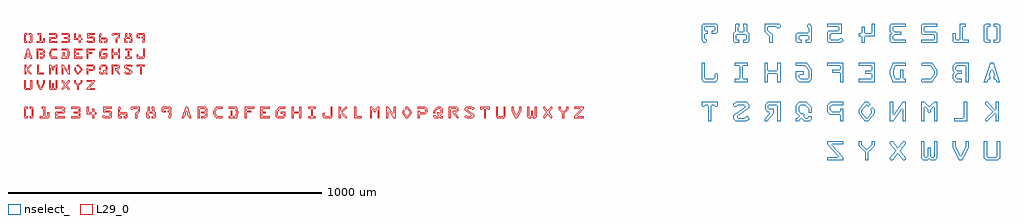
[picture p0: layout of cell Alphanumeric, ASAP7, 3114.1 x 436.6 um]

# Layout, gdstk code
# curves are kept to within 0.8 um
import gdstk
lib = gdstk.Library(unit=1e-6, precision=1e-10)
def P(c, l, *ps):  # polygons
    for p in ps: c.add(gdstk.Polygon(p, *l))
nselect_ = (12, 0)
L29_0 = (29, 0)

c_z = lib.new_cell('z')
P(c_z, L29_0, [(0,0),(30,0),(30,6),(9,6),(9,7.09),(30,30),(30,36),(0,36),(0,30),(21,30),(21,28.909),(0,6)])

c_y = lib.new_cell('y')
P(c_y, L29_0, [(12,0),(18,0),(18,15),(30,27),(30,36),(24,36),(24,29),(16,21),(14,21),(6,29),(6,36),(0,36),(0,27),(12,15)])

c_x = lib.new_cell('x')
P(c_x, L29_0, [(2,0),(5,0),(15,12.4),(25,0),(28,0),(30,2),(30,5),(19.516,18),(30,31),(30,34),(28,36),(25,36),(15,23.6),(5,36),(2,36),(0,34),(0,31),(10.483,18),(0,5),(0,2)])

c_w = lib.new_cell('w')
P(c_w, L29_0, [(4,0),(12,0),(15,3),(18,0),(26,0),(30,4),(30,36),(24,36),(24,8),(22,6),(20,6),(18,8),(18,24),(12,24),(12,8),(10,6),(8,6),(6,8),(6,36),(0,36),(0,4)])

c_v = lib.new_cell('v')
P(c_v, L29_0, [(12,0),(18,0),(30,24),(30,36),(24,36),(24,26),(15,8),(6,26),(6,36),(0,36),(0,24)])

c_u = lib.new_cell('u')
P(c_u, L29_0, [(4,0),(26,0),(30,4),(30,36),(24,36),(24,7),(23,6),(7,6),(6,7),(6,36),(0,36),(0,4)])

c_t = lib.new_cell('t')
P(c_t, L29_0, [(12,0),(18,0),(18,30),(24,30),(26,27),(28,27),(30,29),(30,36),(0,36),(0,29),(2,27),(4,27),(6,30),(12,30)])

c_s = lib.new_cell('s')
P(c_s, L29_0, [(6,0),(25,0),(30,5),(30,11),(9,25.903),(9,29),(10,30),(21,30),(24,27),(27,27),(30,30),(30,33),(24,36),(5,36),(0,31),(0,25),(21,9.906),(21,7),(20,6),(9,6),(6,9),(3,9),(0,6),(0,3)])

c_r = lib.new_cell('r')
P(c_r, L29_0, [(0,0),(6,0),(6,30),(22,30),(23,29),(23,25),(22,24),(12,24),(12,16.8),(26,0),(29,0),(30,1),(30,5),(20.6,16.75),(20.6,18),(24,18),(29,23),(29,31),(24,36),(0,36)])

c_q = lib.new_cell('q')
P(c_q, L29_0, [(4,0),(15,0),(19.083,4.083),(22,0),(30,0),(30,6),(26,6),(24,9),(30,15),(30,30),(24,36),(13,36),(1,24),(0,15),(6,15),(6.4,21.4),(15,30),(21,30),(24,27),(24,18),(20.4,14.4),(18,18),(15,19),(13,18),(12,14),(15.333,9.333),(12,6),(9,6),(6,9),(1,9),(0,8),(0,4)])

c_p = lib.new_cell('p')
P(c_p, L29_0, [(0,0),(6,0),(6,12),(24,12),(30,18),(30,30),(24,36),(0,36),(0,30),(21,30),(24,27),(24,21),(21,18),(6,18),(6,24),(0,24)])

c_o = lib.new_cell('o')
P(c_o, L29_0, [(12,0),(18,0),(30,15),(30,21),(18,36),(12,36),(8,31),(11.778,27.223),(14,30),(16,30),(24,20),(24,16),(16,6),(14,6),(6,16),(6,20),(7.778,22.223),(4,26),(0,21),(0,15)])

c_n = lib.new_cell('n')
P(c_n, L29_0, [(0,0),(6,0),(6,25),(24,0),(30,0),(30,36),(24,36),(24,11),(6,36),(0,36)])

c_m = lib.new_cell('m')
P(c_m, L29_0, [(0,0),(6,0),(6,28),(12,22),(12,20),(14,18),(16,18),(18,20),(18,22),(24,28),(24,0),(30,0),(30,36),(24,36),(15,27),(6,36),(0,36)])

c_l = lib.new_cell('l')
P(c_l, L29_0, [(0,0),(24,0),(24,6),(6,6),(6,36),(0,36)])

c_k = lib.new_cell('k')
P(c_k, L29_0, [(0,0),(6,0),(6,15),(7,15),(22,0),(25,0),(26,1),(26,4),(12,18),(26,32),(26,35),(25,36),(22,36),(7,21),(6,21),(6,36),(0,36)])

c_j = lib.new_cell('j')
P(c_j, L29_0, [(4,0),(26,0),(30,4),(30,36),(24,36),(24,8),(22,6),(8,6),(6,8),(6,15),(4,17),(2,17),(0,15),(0,4)])

c_i = lib.new_cell('i')
P(c_i, L29_0, [(3,0),(27,0),(27,6),(18,6),(18,30),(27,30),(27,36),(3,36),(3,30),(12,30),(12,6),(3,6)])

c_h = lib.new_cell('h')
P(c_h, L29_0, [(0,0),(6,0),(6,15),(24,15),(24,0),(30,0),(30,36),(24,36),(24,21),(6,21),(6,36),(0,36)])

c_g = lib.new_cell('g')
P(c_g, L29_0, [(5,0),(24,0),(30,6),(30,20),(15,20),(15,14),(24,14),(24,9),(21,6),(8,6),(6,8),(6,21),(13,30),(30,30),(30,36),(10,36),(0,23),(0,5)])

c_e = lib.new_cell('e')
P(c_e, L29_0, [(0,0),(30,0),(30,6),(6,6),(6,15),(18,15),(18,21),(6,21),(6,30),(30,30),(30,36),(0,36)])

c_f = lib.new_cell('f')
P(c_f, L29_0, [(0,0),(6,0),(6,18),(21,18),(21,24),(6,24),(6,30),(30,30),(30,36),(0,36)])

c_d = lib.new_cell('d')
P(c_d, L29_0, [(0,0),(25,0),(30,15),(30,21),(25,36),(0,36),(0,30),(20,30),(23,21),(23,15),(20,6),(11,6),(11,24),(5,24),(5,6),(0,6)])

c_c = lib.new_cell('c')
P(c_c, L29_0, [(9,0),(28,0),(30,2),(30,4),(28,6),(12,6),(6,16),(6,20),(12,30),(28,30),(30,32),(30,34),(28,36),(9,36),(0,22),(0,14)])

c_b = lib.new_cell('b')
P(c_b, L29_0, [(0,0),(6,0),(6,30),(21,30),(24,27),(24,24),(21,21),(12,21),(12,15),(21,15),(24,12),(24,9),(21,6),(12,6),(12,0),(24,0),(30,6),(30,15),(27,18),(30,21),(30,30),(24,36),(0,36)])

c_a = lib.new_cell('a')
P(c_a, L29_0, [(0,0),(6.5,0),(9.5,9),(12.5,9),(12.5,15),(11.5,15),(14.166,23),(15.833,23),(18.5,15),(17.5,15),(17.5,9),(20.5,9),(23.5,0),(30,0),(18,36),(12,36)])

c_9 = lib.new_cell('9')
P(c_9, L29_0, [(24,0),(27,0),(30,6),(30,33),(27,36),(3,36),(0,33),(0,21),(3,18),(12,18),(12,24),(6,24),(6,30),(24,30),(24,24),(18,24),(18,18),(24,18),(24,9),(21,6),(21,3)])

c_8 = lib.new_cell('8')
P(c_8, L29_0, [(3,0),(12,0),(12,6),(6,6),(6,15),(24,15),(24,6),(18,6),(18,0),(27,0),(30,3),(30,18),(27,21),(25,21),(25,34.5),(23.5,36),(18,36),(18,30),(19,30),(19,21),(11,21),(11,30),(12,30),(12,36),(6.5,36),(5,34.5),(5,21),(3,21),(0,18),(0,3)])

c_7 = lib.new_cell('7')
P(c_7, L29_0, [(15,0),(21,0),(21,12),(30,21),(30,36),(3,36),(0,33),(0,30),(3,27),(6,27),(9,30),(24,30),(24,24),(15,15)])

c_6 = lib.new_cell('6')
P(c_6, L29_0, [(3,0),(12,0),(12,6),(6,6),(6,12),(24,12),(24,6),(18,6),(18,0),(27,0),(30,3),(30,15),(27,18),(6,18),(6,27),(9,30),(9,33),(6,36),(3,36),(0,30),(0,3)])

c_5 = lib.new_cell('5')
P(c_5, L29_0, [(6,0),(27,0),(30,3),(30,21),(27,24),(9,24),(9,30),(30,30),(30,36),(3,36),(3,18),(24,18),(24,6),(9,6),(6,9),(3,9),(0,6),(0,3)])

c_4 = lib.new_cell('4')
P(c_4, L29_0, [(18,0),(24,0),(24,12),(30,12),(30,18),(24,18),(24,30),(18,30),(18,18),(6,18),(6,36),(0,36),(0,12),(18,12)])

c_3 = lib.new_cell('3')
P(c_3, L29_0, [(0,0),(27,0),(30,3),(30,15),(27,18),(30,21),(30,33),(27,36),(0,36),(0,30),(24,30),(24,24),(21,21),(9,21),(9,15),(21,15),(24,12),(24,6),(0,6)])

c_2 = lib.new_cell('2')
P(c_2, L29_0, [(0,0),(30,0),(30,6),(6,6),(6,15),(27,15),(30,18),(30,33),(27,36),(0,36),(0,30),(24,30),(24,21),(3,21),(0,18)])

c_1 = lib.new_cell('1')
P(c_1, L29_0, [(0,0),(27,0),(30,3),(30,18),(24,18),(24,6),(18,6),(18,36),(6,36),(6,30),(12,30),(12,6),(0,6)])

c_0 = lib.new_cell('0')
P(c_0, L29_0, [(3,0),(12,0),(12,6),(6,6),(6,30),(12,30),(12,36),(3,36),(0,33),(0,3)],
  [(18,0),(27,0),(30,3),(30,33),(27,36),(18,36),(18,30),(24,30),(24,6),(18,6)])

c_0_ = lib.new_cell('0-')
P(c_0_, L29_0, [(2.534,0),(9.73,0),(9.73,5),(5,5),(5,25.8),(9.73,25.8),(9.73,30.8),(2.534,30.8),(0,28.265),(0,2.535)],
  [(15.91,0),(23.105,0),(25.64,2.534),(25.64,28.266),(23.105,30.8),(15.91,30.8),(15.91,25.8),(20.64,25.8),(20.64,5),(15.91,5)])

c_u_ = lib.new_cell('u-')
P(c_u_, L29_0, [(3.394,0),(22.245,0),(25.64,3.394),(25.64,30.8),(20.64,30.8),(20.64,5.905),(19.734,5),(5.905,5),(5,5.906),(5,30.8),(0,30.8),(0,3.395)])

c_a_ = lib.new_cell('a-')
P(c_a_, L29_0, [(0.037,0),(5.505,0),(7.068,4.73),(9.73,4.73),(9.73,9.73),(8.719,9.73),(11.614,18.49),(14.025,18.49),(16.92,9.73),(15.91,9.73),(15.91,4.73),(18.572,4.73),(20.135,0),(25.602,0),(15.395,30.8),(10.246,30.8)])

c_k_ = lib.new_cell('k-')
P(c_k_, L29_0, [(1.72,0),(6.72,0),(6.72,12.9),(7.695,12.9),(20.594,0),(23.105,0),(23.92,0.814),(23.92,3.325),(11.845,15.4),(23.92,27.474),(23.92,29.985),(23.106,30.8),(20.595,30.8),(7.694,17.9),(6.72,17.9),(6.72,30.8),(1.72,30.8)])

c_1_ = lib.new_cell('1-')
P(c_1_, L29_0, [(0,0),(23.105,0),(25.64,2.534),(25.64,15.32),(20.64,15.32),(20.64,5),(14.46,5),(14.46,30.8),(4.3,30.8),(4.3,25.8),(9.46,25.8),(9.46,5),(0,5)])

c_b_ = lib.new_cell('b-')
P(c_b_, L29_0, [(0,0),(5,0),(5,25.8),(18.015,25.8),(20.64,23.174),(20.64,20.525),(18.014,17.9),(11.18,17.9),(11.18,12.9),(18.015,12.9),(20.64,10.274),(20.64,7.625),(18.014,5),(11.18,5),(11.18,0),(20.525,0),(25.64,5.114),(25.64,12.785),(23.025,15.4),(25.64,18.014),(25.64,25.685),(20.526,30.8),(0,30.8)])

c_v_ = lib.new_cell('v-')
P(c_v_, L29_0, [(10.29,0),(15.35,0),(25.64,20.578),(25.64,30.8),(20.64,30.8),(20.64,22.262),(12.82,6.622),(5,22.262),(5,30.8),(0,30.8),(0,20.578)])

c_l_ = lib.new_cell('l-')
P(c_l_, L29_0, [(2.58,0),(23.06,0),(23.06,5),(7.58,5),(7.58,30.8),(2.58,30.8)])

c_2_ = lib.new_cell('2-')
P(c_2_, L29_0, [(0,0),(25.64,0),(25.64,5),(5,5),(5,12.9),(23.105,12.9),(25.64,15.434),(25.64,28.265),(23.106,30.8),(0,30.8),(0,25.8),(20.64,25.8),(20.64,17.9),(2.535,17.9),(0,15.366)])

c_c_ = lib.new_cell('c-')
P(c_c_, L29_0, [(7.704,0),(23.965,0),(25.64,1.674),(25.64,3.325),(23.966,5),(10.195,5),(5,13.657),(5,17.143),(10.195,25.8),(23.965,25.8),(25.64,27.474),(25.64,29.125),(23.966,30.8),(7.704,30.8),(0,18.817),(0,11.983)])

c_m_ = lib.new_cell('m-')
P(c_m_, L29_0, [(0,0),(5,0),(5,23.22),(10.32,18.397),(10.32,15.005),(11.994,13.33),(13.645,13.33),(15.32,15.004),(15.32,18.396),(20.64,23.22),(20.64,0),(25.64,0),(25.64,30.8),(20.846,30.8),(13.965,23.92),(11.674,23.92),(4.795,30.8),(0,30.8)])

c_w_ = lib.new_cell('w-')
P(c_w_, L29_0, [(3.394,0),(10.205,0),(12.82,2.615),(15.434,0),(22.245,0),(25.64,3.394),(25.64,30.8),(20.64,30.8),(20.64,6.765),(18.874,5),(17.085,5),(15.32,6.766),(15.32,20.48),(10.32,20.48),(10.32,6.765),(8.554,5),(6.765,5),(5,6.766),(5,30.8),(0,30.8),(0,3.395)])

c_3_ = lib.new_cell('3-')
P(c_3_, L29_0, [(0,0),(23.105,0),(25.64,2.534),(25.64,12.785),(23.025,15.4),(25.64,18.014),(25.64,28.265),(23.106,30.8),(0,30.8),(0,25.8),(20.64,25.8),(20.64,20.525),(18.014,17.9),(7.74,17.9),(7.74,12.9),(18.015,12.9),(20.64,10.274),(20.64,5),(0,5)])

c_d_ = lib.new_cell('d-')
P(c_d_, L29_0, [(0,0),(21.362,0),(25.64,12.832),(25.64,17.968),(21.362,30.8),(0,30.8),(0,25.8),(17.178,25.8),(19.78,17.992),(19.78,12.808),(17.178,5),(9.3,5),(9.3,19.62),(4.3,19.62),(4.3,5),(0,5)])

c_n_ = lib.new_cell('n-')
P(c_n_, L29_0, [(0,0),(5,0),(5,21.667),(20.601,0),(25.64,0),(25.64,30.8),(20.64,30.8),(20.64,9.133),(5.039,30.8),(0,30.8)])

c_x_ = lib.new_cell('x-')
P(c_x_, L29_0, [(1.674,0),(4.181,0),(12.82,10.711),(21.459,0),(23.965,0),(25.64,1.674),(25.64,4.193),(16.601,15.4),(25.64,26.607),(25.64,29.125),(23.966,30.8),(21.459,30.8),(12.82,20.089),(4.181,30.8),(1.675,30.8),(0,29.126),(0,26.607),(9.039,15.4),(0,4.193),(0,1.675)])

c_4_ = lib.new_cell('4-')
P(c_4_, L29_0, [(15.48,0),(20.48,0),(20.48,10.32),(25.64,10.32),(25.64,15.32),(20.48,15.32),(20.48,25.64),(15.48,25.64),(15.48,15.32),(5,15.32),(5,30.8),(0,30.8),(0,10.32),(15.48,10.32)])

c_e_ = lib.new_cell('e-')
P(c_e_, L29_0, [(0,0),(25.64,0),(25.64,5),(5,5),(5,12.9),(15.32,12.9),(15.32,17.9),(5,17.9),(5,25.8),(25.64,25.8),(25.64,30.8),(0,30.8)])

c_o_ = lib.new_cell('o-')
P(c_o_, L29_0, [(10.267,0),(15.4,0),(25.667,12.833),(25.667,17.967),(15.4,30.8),(10.267,30.8),(6.844,26.522),(10.077,23.291),(11.978,25.667),(13.689,25.667),(20.533,17.111),(20.533,13.689),(13.689,5.133),(11.978,5.133),(5.133,13.689),(5.133,17.111),(6.654,19.013),(3.422,22.244),(0,17.967),(0,12.833)])

c_y_ = lib.new_cell('y-')
P(c_y_, L29_0, [(10.32,0),(15.32,0),(15.32,12.855),(25.64,23.174),(25.64,30.8),(20.64,30.8),(20.64,24.825),(13.714,17.9),(11.925,17.9),(5,24.826),(5,30.8),(0,30.8),(0,23.175),(10.32,12.854)])

c_5_ = lib.new_cell('5-')
P(c_5_, L29_0, [(5.098,0),(23.105,0),(25.64,2.534),(25.64,17.085),(23.106,19.62),(7.58,19.62),(7.58,25.8),(25.64,25.8),(25.64,30.8),(2.58,30.8),(2.58,14.62),(20.64,14.62),(20.64,5),(7.625,5),(5.046,7.58),(2.535,7.58),(0,5.046),(0,2.55)])

c_f_ = lib.new_cell('f-')
P(c_f_, L29_0, [(0,0),(5,0),(5,14.62),(17.9,14.62),(17.9,19.62),(5,19.62),(5,25.8),(25.64,25.8),(25.64,30.8),(0,30.8)])

c_p_ = lib.new_cell('p-')
P(c_p_, L29_0, [(0,0),(5,0),(5,10.32),(20.525,10.32),(25.64,15.434),(25.64,25.685),(20.526,30.8),(0,30.8),(0,25.8),(18.015,25.8),(20.64,23.174),(20.64,17.945),(18.014,15.32),(5,15.32),(5,19.62),(0,19.62)])

c_z_ = lib.new_cell('z-')
P(c_z_, L29_0, [(0,0),(25.64,0),(25.64,5),(7.58,5),(7.58,6.049),(25.64,25.752),(25.64,30.8),(0,30.8),(0,25.8),(18.06,25.8),(18.06,24.751),(0,5.048)])

c_6_ = lib.new_cell('6-')
P(c_6_, L29_0, [(2.534,0),(9.73,0),(9.73,5),(5,5),(5,11.18),(20.64,11.18),(20.64,5),(15.91,5),(15.91,0),(23.105,0),(25.64,2.534),(25.64,13.645),(23.106,16.18),(5,16.18),(5,23.175),(7.58,25.754),(7.58,28.265),(5.046,30.8),(2.55,30.8),(0,25.702),(0,2.535)])

c_g_ = lib.new_cell('g-')
P(c_g_, L29_0, [(4.254,0),(20.525,0),(25.64,5.114),(25.64,17.04),(12.9,17.04),(12.9,12.04),(20.64,12.04),(20.64,7.625),(18.014,5),(6.765,5),(5,6.766),(5,18.008),(11.06,25.8),(25.64,25.8),(25.64,30.8),(8.56,30.8),(0,19.673),(0,4.255)])

c_q_ = lib.new_cell('q-')
P(c_q_, L29_0, [(3.394,0),(12.147,0),(16.711,4.564),(21.275,0),(25.64,0),(25.64,5),(23.345,5),(20.246,8.099),(25.64,13.492),(25.64,25.685),(20.526,30.8),(8.857,30.8),(0,21.944),(0,13.76),(5,13.76),(5,19.874),(10.927,25.8),(18.015,25.8),(20.64,23.174),(20.64,15.562),(16.681,11.603),(15.693,12.592),(13.579,12.592),(12.157,11.171),(12.157,9.058),(13.145,8.069),(10.077,5),(7.374,5),(4.795,7.58),(0,7.58),(0,3.395)])

c_7_ = lib.new_cell('7-')
P(c_7_, L29_0, [(12.9,0),(17.9,0),(17.9,10.275),(25.64,18.014),(25.64,30.8),(2.535,30.8),(0,28.266),(0,25.755),(2.534,23.22),(5.045,23.22),(7.626,25.8),(20.64,25.8),(20.64,20.525),(12.9,12.786)])

c_h_ = lib.new_cell('h-')
P(c_h_, L29_0, [(0,0),(5,0),(5,12.9),(20.64,12.9),(20.64,0),(25.64,0),(25.64,30.8),(20.64,30.8),(20.64,17.9),(5,17.9),(5,30.8),(0,30.8)])

c_r_ = lib.new_cell('r-')
P(c_r_, L29_0, [(0,0),(5,0),(5,25.8),(18.875,25.8),(19.78,24.894),(19.78,20.525),(18.874,19.62),(11.18,19.62),(11.18,12.505),(21.601,0),(25.64,0),(25.64,3.333),(17.556,13.438),(17.556,14.62),(20.525,14.62),(24.78,18.874),(24.78,26.545),(20.526,30.8),(0,30.8)])

c_8_ = lib.new_cell('8-')
P(c_8_, L29_0, [(2.534,0),(9.73,0),(9.73,5),(5,5),(5,12.9),(20.64,12.9),(20.64,5),(15.91,5),(15.91,0),(23.105,0),(25.64,2.534),(25.64,15.365),(23.106,17.9),(22.2,17.9),(22.2,29.555),(20.956,30.8),(15.91,30.8),(15.91,25.8),(17.2,25.8),(17.2,17.9),(8.44,17.9),(8.44,25.8),(9.73,25.8),(9.73,30.8),(4.685,30.8),(3.44,29.556),(3.44,17.9),(2.535,17.9),(0,15.366),(0,2.535)])

c_s_ = lib.new_cell('s-')
P(c_s_, L29_0, [(5.098,0),(21.385,0),(25.64,4.254),(25.64,9.338),(7.58,22.156),(7.58,24.895),(8.486,25.8),(18.015,25.8),(20.594,23.22),(23.105,23.22),(25.64,25.754),(25.64,28.25),(20.542,30.8),(4.255,30.8),(0,26.546),(0,21.461),(18.06,8.48),(18.06,5.905),(17.154,5),(7.625,5),(5.046,7.58),(2.535,7.58),(0,5.046),(0,2.55)])

c_i_ = lib.new_cell('i-')
P(c_i_, L29_0, [(2.58,0),(23.06,0),(23.06,5),(15.32,5),(15.32,25.8),(23.06,25.8),(23.06,30.8),(2.58,30.8),(2.58,25.8),(10.32,25.8),(10.32,5),(2.58,5)])

c_9_ = lib.new_cell('9-')
P(c_9_, L29_0, [(20.594,0),(23.09,0),(25.64,5.098),(25.64,28.265),(23.106,30.8),(2.535,30.8),(0,28.266),(0,17.155),(2.534,14.62),(9.73,14.62),(9.73,19.62),(5,19.62),(5,25.8),(20.64,25.8),(20.64,19.62),(15.91,19.62),(15.91,14.62),(20.64,14.62),(20.64,7.625),(18.06,5.046),(18.06,2.535)])

c_j_ = lib.new_cell('j-')
P(c_j_, L29_0, [(3.394,0),(22.245,0),(25.64,3.394),(25.64,30.8),(20.64,30.8),(20.64,6.765),(18.874,5),(6.765,5),(5,6.766),(5,12.785),(3.326,14.46),(1.675,14.46),(0,12.786),(0,3.395)])

c_t_ = lib.new_cell('t-')
P(c_t_, L29_0, [(10.32,0),(15.32,0),(15.32,25.8),(20.64,25.8),(20.64,24.895),(22.314,23.22),(23.965,23.22),(25.64,24.894),(25.64,30.8),(0,30.8),(0,24.895),(1.674,23.22),(3.325,23.22),(5,24.894),(5,25.8),(10.32,25.8)])

t_bsa = lib.new_cell('t-BSA')
P(t_bsa, nselect_, [(30.64,0),(30.64,51.6),(41.28,51.6),(41.28,49.788),(44.63,46.44),(47.932,46.44),(51.28,49.79),(51.28,61.6),(0,61.6),(0,49.788),(3.35,46.44),(6.652,46.44),(10,49.79),(10,51.6),(20.64,51.6),(20.64,0)])

j_bsa = lib.new_cell('j-BSA')
P(j_bsa, nselect_, [(44.492,0),(51.28,6.79),(51.28,25.572),(47.93,28.92),(44.628,28.92),(41.28,25.57),(41.28,13.532),(37.75,10),(13.532,10),(10,13.53),(10,61.6),(0,61.6),(0,6.788),(6.79,0)])

c_9_bsa = lib.new_cell('9-BSA')
P(c_9_bsa, nselect_, [(10.092,0),(15.16,5.07),(15.16,10.092),(10,15.25),(10,29.24),(19.46,29.24),(19.46,39.24),(10,39.24),(10,51.6),(41.28,51.6),(41.28,39.24),(31.82,39.24),(31.82,29.24),(46.212,29.24),(51.28,34.31),(51.28,56.532),(46.21,61.6),(5.068,61.6),(0,56.53),(0,10.196),(5.1,0)])

s_bsa = lib.new_cell('s-BSA')
P(s_bsa, nselect_, [(41.084,0),(51.28,5.1),(51.28,10.092),(46.21,15.16),(41.188,15.16),(36.03,10),(16.972,10),(15.16,11.81),(15.16,16.96),(51.28,42.922),(51.28,53.092),(42.77,61.6),(10.196,61.6),(0,56.5),(0,51.508),(5.07,46.44),(10.092,46.44),(15.25,51.6),(34.308,51.6),(36.12,49.79),(36.12,44.312),(0,18.676),(0,8.508),(8.51,0)])

c_8_bsa = lib.new_cell('8-BSA')
P(c_8_bsa, nselect_, [(46.212,0),(51.28,5.07),(51.28,30.732),(46.21,35.8),(44.4,35.8),(44.4,59.112),(41.91,61.6),(31.82,61.6),(31.82,51.6),(34.4,51.6),(34.4,35.8),(16.88,35.8),(16.88,51.6),(19.46,51.6),(19.46,61.6),(9.368,61.6),(6.88,59.11),(6.88,35.8),(5.068,35.8),(0,30.73),(0,5.068),(5.07,0),(19.46,0),(19.46,10),(10,10),(10,25.8),(41.28,25.8),(41.28,10),(31.82,10),(31.82,0)])

i_bsa = lib.new_cell('i-BSA')
P(i_bsa, nselect_, [(40.96,0),(40.96,10),(25.48,10),(25.48,51.6),(40.96,51.6),(40.96,61.6),(0,61.6),(0,51.6),(15.48,51.6),(15.48,10),(0,10),(0,0)])

r_bsa = lib.new_cell('r-BSA')
P(r_bsa, nselect_, [(51.28,0),(51.28,61.6),(10.228,61.6),(1.72,53.09),(1.72,37.748),(10.23,29.24),(16.168,29.24),(16.168,26.876),(0,6.666),(0,0),(8.078,0),(28.92,25.01),(28.92,39.24),(13.532,39.24),(11.72,41.05),(11.72,49.788),(13.53,51.6),(41.28,51.6),(41.28,0)])

h_bsa = lib.new_cell('h-BSA')
P(h_bsa, nselect_, [(51.28,0),(51.28,61.6),(41.28,61.6),(41.28,35.8),(10,35.8),(10,61.6),(0,61.6),(0,0),(10,0),(10,25.8),(41.28,25.8),(41.28,0)])

c_7_bsa = lib.new_cell('7-BSA')
P(c_7_bsa, nselect_, [(25.48,0),(25.48,25.572),(10,41.05),(10,51.6),(36.028,51.6),(41.19,46.44),(46.212,46.44),(51.28,51.51),(51.28,56.532),(46.21,61.6),(0,61.6),(0,36.028),(15.48,20.55),(15.48,0)])

q_bsa = lib.new_cell('q-BSA')
P(q_bsa, nselect_, [(44.492,0),(51.28,6.79),(51.28,15.16),(41.69,15.16),(36.532,10),(31.126,10),(24.99,16.138),(26.966,18.116),(26.966,22.342),(24.122,25.184),(19.894,25.184),(17.918,23.206),(10,31.124),(10,46.348),(15.25,51.6),(29.426,51.6),(41.28,39.748),(41.28,27.52),(51.28,27.52),(51.28,43.888),(33.566,61.6),(10.228,61.6),(0,51.37),(0,26.984),(10.788,16.198),(4.59,10),(0,10),(0,0),(8.73,0),(17.858,9.128),(26.986,0)])

g_bsa = lib.new_cell('g-BSA')
P(g_bsa, nselect_, [(42.772,0),(51.28,8.51),(51.28,39.346),(34.16,61.6),(0,61.6),(0,51.6),(29.16,51.6),(41.28,36.016),(41.28,13.532),(37.75,10),(15.252,10),(10,15.25),(10,24.08),(25.48,24.08),(25.48,34.08),(0,34.08),(0,10.228),(10.23,0)])

c_6_bsa = lib.new_cell('6-BSA')
P(c_6_bsa, nselect_, [(46.212,0),(51.28,5.07),(51.28,51.404),(46.18,61.6),(41.188,61.6),(36.12,56.53),(36.12,51.508),(41.28,46.35),(41.28,32.36),(5.068,32.36),(0,27.29),(0,5.068),(5.07,0),(19.46,0),(19.46,10),(10,10),(10,22.36),(41.28,22.36),(41.28,10),(31.82,10),(31.82,0)])

z_bsa = lib.new_cell('z-BSA')
P(z_bsa, nselect_, [(51.28,0),(51.28,10.096),(15.16,49.502),(15.16,51.6),(51.28,51.6),(51.28,61.6),(0,61.6),(0,51.504),(36.12,12.098),(36.12,10),(0,10),(0,0)])

p_bsa = lib.new_cell('p-BSA')
P(p_bsa, nselect_, [(51.28,0),(51.28,39.24),(41.28,39.24),(41.28,30.64),(15.252,30.64),(10,35.89),(10,46.348),(15.25,51.6),(51.28,51.6),(51.28,61.6),(10.228,61.6),(0,51.37),(0,30.868),(10.23,20.64),(41.28,20.64),(41.28,0)])

f_bsa = lib.new_cell('f-BSA')
P(f_bsa, nselect_, [(51.28,0),(51.28,61.6),(0,61.6),(0,51.6),(41.28,51.6),(41.28,39.24),(15.48,39.24),(15.48,29.24),(41.28,29.24),(41.28,0)])

c_5_bsa = lib.new_cell('5-BSA')
P(c_5_bsa, nselect_, [(41.084,0),(51.28,5.1),(51.28,10.092),(46.21,15.16),(41.188,15.16),(36.03,10),(10,10),(10,29.24),(46.12,29.24),(46.12,61.6),(0,61.6),(0,51.6),(36.12,51.6),(36.12,39.24),(5.068,39.24),(0,34.17),(0,5.068),(5.07,0)])

o_bsa = lib.new_cell('o-BSA')
P(o_bsa, nselect_, [(30.8,0),(51.334,25.666),(51.334,35.934),(44.49,44.488),(38.026,38.026),(41.068,34.222),(41.068,27.378),(27.378,10.266),(23.956,10.266),(10.268,27.378),(10.268,34.222),(23.956,51.334),(27.378,51.334),(31.18,46.582),(37.646,53.044),(30.8,61.6),(20.534,61.6),(0,35.934),(0,25.666),(20.534,0)])

y_bsa = lib.new_cell('y-BSA')
P(y_bsa, nselect_, [(30.64,0),(30.64,25.708),(51.28,46.35),(51.28,61.6),(41.28,61.6),(41.28,49.652),(27.43,35.8),(23.852,35.8),(10,49.65),(10,61.6),(0,61.6),(0,46.348),(20.64,25.71),(20.64,0)])

e_bsa = lib.new_cell('e-BSA')
P(e_bsa, nselect_, [(51.28,0),(51.28,61.6),(0,61.6),(0,51.6),(41.28,51.6),(41.28,35.8),(20.64,35.8),(20.64,25.8),(41.28,25.8),(41.28,10),(0,10),(0,0)])

c_4_bsa = lib.new_cell('4-BSA')
P(c_4_bsa, nselect_, [(20.32,0),(20.32,20.64),(51.28,20.64),(51.28,61.6),(41.28,61.6),(41.28,30.64),(20.32,30.64),(20.32,51.28),(10.32,51.28),(10.32,30.64),(0,30.64),(0,20.64),(10.32,20.64),(10.32,0)])

x_bsa = lib.new_cell('x-BSA')
P(x_bsa, nselect_, [(47.932,0),(51.28,3.35),(51.28,8.386),(33.202,30.8),(51.28,53.214),(51.28,58.252),(47.93,61.6),(42.918,61.6),(25.64,40.178),(8.362,61.6),(3.348,61.6),(0,58.25),(0,53.214),(18.078,30.8),(0,8.386),(0,3.348),(3.35,0),(8.362,0),(25.64,21.422),(42.918,0)])

n_bsa = lib.new_cell('n-BSA')
P(n_bsa, nselect_, [(51.28,0),(51.28,61.6),(41.202,61.6),(10,18.266),(10,61.6),(0,61.6),(0,0),(10.078,0),(41.28,43.334),(41.28,0)])

d_bsa = lib.new_cell('d-BSA')
P(d_bsa, nselect_, [(51.28,0),(51.28,10),(42.68,10),(42.68,39.24),(32.68,39.24),(32.68,10),(16.924,10),(11.72,25.616),(11.72,35.984),(16.924,51.6),(51.28,51.6),(51.28,61.6),(8.556,61.6),(0,35.936),(0,25.664),(8.556,0)])

c_3_bsa = lib.new_cell('3-BSA')
P(c_3_bsa, nselect_, [(51.28,0),(51.28,10),(10,10),(10,20.548),(15.25,25.8),(35.8,25.8),(35.8,35.8),(15.252,35.8),(10,41.05),(10,51.6),(51.28,51.6),(51.28,61.6),(5.068,61.6),(0,56.53),(0,36.028),(5.23,30.8),(0,25.57),(0,5.068),(5.07,0)])

w_bsa = lib.new_cell('w-BSA')
P(w_bsa, nselect_, [(44.492,0),(51.28,6.79),(51.28,61.6),(41.28,61.6),(41.28,13.532),(37.75,10),(34.172,10),(30.64,13.53),(30.64,40.96),(20.64,40.96),(20.64,13.532),(17.11,10),(13.532,10),(10,13.53),(10,61.6),(0,61.6),(0,6.788),(6.79,0),(20.412,0),(25.64,5.23),(30.87,0)])

m_bsa = lib.new_cell('m-BSA')
P(m_bsa, nselect_, [(51.28,0),(51.28,61.6),(41.69,61.6),(27.932,47.84),(23.35,47.84),(9.588,61.6),(0,61.6),(0,0),(10,0),(10,46.44),(20.64,36.792),(20.64,30.008),(23.99,26.66),(27.292,26.66),(30.64,30.01),(30.64,36.794),(41.28,46.44),(41.28,0)])

c_bsa = lib.new_cell('c-BSA')
P(c_bsa, nselect_, [(35.872,0),(51.28,23.966),(51.28,37.634),(35.872,61.6),(3.348,61.6),(0,58.25),(0,54.948),(3.35,51.6),(30.89,51.6),(41.28,34.286),(41.28,27.314),(30.89,10),(3.348,10),(0,6.65),(0,3.348),(3.35,0)])

c_2_bsa = lib.new_cell('2-BSA')
P(c_2_bsa, nselect_, [(51.28,0),(51.28,30.732),(46.21,35.8),(10,35.8),(10,51.6),(51.28,51.6),(51.28,61.6),(5.068,61.6),(0,56.53),(0,30.868),(5.07,25.8),(41.28,25.8),(41.28,10),(0,10),(0,0)])

v_bsa = lib.new_cell('v-BSA')
P(v_bsa, nselect_, [(30.7,0),(51.28,41.156),(51.28,61.6),(41.28,61.6),(41.28,44.524),(25.64,13.244),(10,44.524),(10,61.6),(0,61.6),(0,41.156),(20.58,0)])

b_bsa = lib.new_cell('b-BSA')
P(b_bsa, nselect_, [(51.28,0),(51.28,61.6),(10.228,61.6),(0,51.37),(0,36.028),(5.23,30.8),(0,25.57),(0,10.228),(10.23,0),(28.92,0),(28.92,10),(15.252,10),(10,15.25),(10,20.548),(15.25,25.8),(28.92,25.8),(28.92,35.8),(15.252,35.8),(10,41.05),(10,46.348),(15.25,51.6),(41.28,51.6),(41.28,0)])

c_1_bsa = lib.new_cell('1-BSA')
P(c_1_bsa, nselect_, [(51.28,0),(51.28,10),(32.36,10),(32.36,51.6),(42.68,51.6),(42.68,61.6),(22.36,61.6),(22.36,10),(10,10),(10,30.64),(0,30.64),(0,5.068),(5.07,0)])

l_bsa = lib.new_cell('l-BSA')
P(l_bsa, nselect_, [(40.96,0),(40.96,61.6),(30.96,61.6),(30.96,10),(0,10),(0,0)])

u_bsa = lib.new_cell('u-BSA')
P(u_bsa, nselect_, [(44.492,0),(51.28,6.79),(51.28,61.6),(41.28,61.6),(41.28,11.812),(39.47,10),(11.812,10),(10,11.81),(10,61.6),(0,61.6),(0,6.788),(6.79,0)])

c_0_bsa = lib.new_cell('0-BSA')
P(c_0_bsa, nselect_, [(19.46,0),(19.46,10),(10,10),(10,51.6),(19.46,51.6),(19.46,61.6),(5.07,61.6),(0,56.532),(0,5.068),(5.07,0)],
  [(46.212,0),(51.28,5.07),(51.28,56.53),(46.212,61.6),(31.82,61.6),(31.82,51.6),(41.28,51.6),(41.28,10),(31.82,10),(31.82,0)])

a_bsa = lib.new_cell('a-BSA')
P(a_bsa, nselect_, [(51.13,0),(30.712,61.6),(20.414,61.6),(0,0),(10.934,0),(14.06,9.46),(19.384,9.46),(19.384,19.46),(17.364,19.46),(23.154,36.98),(27.976,36.98),(33.766,19.46),(31.744,19.46),(31.744,9.46),(37.068,9.46),(40.194,0)])

k_bsa = lib.new_cell('k-BSA')
P(k_bsa, nselect_, [(44.4,0),(44.4,61.6),(34.4,61.6),(34.4,35.8),(32.452,35.8),(6.65,61.6),(1.628,61.6),(0,59.97),(0,54.948),(24.15,30.8),(0,6.65),(0,1.628),(1.63,0),(6.652,0),(32.45,25.8),(34.4,25.8),(34.4,0)])

alphanumeric = lib.new_cell('Alphanumeric')
alphanumeric.add(gdstk.Reference(c_z, (1756,-240)))
alphanumeric.add(gdstk.Reference(c_y, (1706,-240)))
alphanumeric.add(gdstk.Reference(c_x, (1656,-240)))
alphanumeric.add(gdstk.Reference(c_w, (1606,-240)))
alphanumeric.add(gdstk.Reference(c_v, (1556,-240)))
alphanumeric.add(gdstk.Reference(c_u, (1506,-240)))
alphanumeric.add(gdstk.Reference(c_t, (1456,-240)))
alphanumeric.add(gdstk.Reference(c_s, (1406,-240)))
alphanumeric.add(gdstk.Reference(c_r, (1356,-240)))
alphanumeric.add(gdstk.Reference(c_q, (1306,-240)))
alphanumeric.add(gdstk.Reference(c_p, (1256,-240)))
alphanumeric.add(gdstk.Reference(c_o, (1206.5,-240)))
alphanumeric.add(gdstk.Reference(c_n, (1156,-240)))
alphanumeric.add(gdstk.Reference(c_m, (1104,-240)))
alphanumeric.add(gdstk.Reference(c_l, (1054,-240)))
alphanumeric.add(gdstk.Reference(c_k, (1004,-240)))
alphanumeric.add(gdstk.Reference(c_j, (954,-240)))
alphanumeric.add(gdstk.Reference(c_i, (904,-240)))
alphanumeric.add(gdstk.Reference(c_h, (854,-240)))
alphanumeric.add(gdstk.Reference(c_g, (804,-240)))
alphanumeric.add(gdstk.Reference(c_e, (754,-240)))
alphanumeric.add(gdstk.Reference(c_f, (704,-240)))
alphanumeric.add(gdstk.Reference(c_d, (654,-240)))
alphanumeric.add(gdstk.Reference(c_c, (604,-240)))
alphanumeric.add(gdstk.Reference(c_b, (554,-240)))
alphanumeric.add(gdstk.Reference(c_a, (504,-240)))
alphanumeric.add(gdstk.Reference(c_9, (440,-240)))
alphanumeric.add(gdstk.Reference(c_8, (390,-240)))
alphanumeric.add(gdstk.Reference(c_7, (340,-240)))
alphanumeric.add(gdstk.Reference(c_6, (300,-240)))
alphanumeric.add(gdstk.Reference(c_5, (250,-240)))
alphanumeric.add(gdstk.Reference(c_4, (200,-240)))
alphanumeric.add(gdstk.Reference(c_3, (150,-240)))
alphanumeric.add(gdstk.Reference(c_2, (100,-240)))
alphanumeric.add(gdstk.Reference(c_1, (50,-240)))
alphanumeric.add(gdstk.Reference(c_0, (0,-240)))
alphanumeric.add(gdstk.Reference(c_0_, (0,0)))
alphanumeric.add(gdstk.Reference(c_u_, (0,-150)))
alphanumeric.add(gdstk.Reference(c_a_, (0,-50)))
alphanumeric.add(gdstk.Reference(c_k_, (0,-100)))
alphanumeric.add(gdstk.Reference(c_1_, (40,0)))
alphanumeric.add(gdstk.Reference(c_b_, (40,-50)))
alphanumeric.add(gdstk.Reference(c_v_, (40,-150)))
alphanumeric.add(gdstk.Reference(c_l_, (40,-100)))
alphanumeric.add(gdstk.Reference(c_2_, (80,0)))
alphanumeric.add(gdstk.Reference(c_c_, (80,-50)))
alphanumeric.add(gdstk.Reference(c_m_, (80,-100)))
alphanumeric.add(gdstk.Reference(c_w_, (80,-150)))
alphanumeric.add(gdstk.Reference(c_3_, (120,0)))
alphanumeric.add(gdstk.Reference(c_d_, (120,-50)))
alphanumeric.add(gdstk.Reference(c_n_, (120,-100)))
alphanumeric.add(gdstk.Reference(c_x_, (120,-150)))
alphanumeric.add(gdstk.Reference(c_4_, (160,0)))
alphanumeric.add(gdstk.Reference(c_e_, (160,-50)))
alphanumeric.add(gdstk.Reference(c_o_, (160,-100)))
alphanumeric.add(gdstk.Reference(c_y_, (160,-150)))
alphanumeric.add(gdstk.Reference(c_5_, (200,0)))
alphanumeric.add(gdstk.Reference(c_f_, (200,-50)))
alphanumeric.add(gdstk.Reference(c_p_, (200,-100)))
alphanumeric.add(gdstk.Reference(c_z_, (200,-150)))
alphanumeric.add(gdstk.Reference(c_6_, (240,0)))
alphanumeric.add(gdstk.Reference(c_g_, (240,-50)))
alphanumeric.add(gdstk.Reference(c_q_, (240,-100)))
alphanumeric.add(gdstk.Reference(c_7_, (280,0)))
alphanumeric.add(gdstk.Reference(c_h_, (280,-50)))
alphanumeric.add(gdstk.Reference(c_r_, (280,-100)))
alphanumeric.add(gdstk.Reference(c_8_, (320,0)))
alphanumeric.add(gdstk.Reference(c_s_, (320,-100)))
alphanumeric.add(gdstk.Reference(c_i_, (320,-50)))
alphanumeric.add(gdstk.Reference(c_9_, (360,0)))
alphanumeric.add(gdstk.Reference(c_j_, (360,-50)))
alphanumeric.add(gdstk.Reference(c_t_, (360,-100)))
alphanumeric.add(gdstk.Reference(t_bsa, (2162.82,-250)))
alphanumeric.add(gdstk.Reference(j_bsa, (2162.82,-125)))
alphanumeric.add(gdstk.Reference(c_9_bsa, (2162.82,0)))
alphanumeric.add(gdstk.Reference(s_bsa, (2262.82,-250)))
alphanumeric.add(gdstk.Reference(c_8_bsa, (2262.82,0)))
alphanumeric.add(gdstk.Reference(i_bsa, (2267.98,-125)))
alphanumeric.add(gdstk.Reference(r_bsa, (2362.82,-250)))
alphanumeric.add(gdstk.Reference(h_bsa, (2362.82,-125)))
alphanumeric.add(gdstk.Reference(c_7_bsa, (2362.82,0)))
alphanumeric.add(gdstk.Reference(q_bsa, (2462.82,-250)))
alphanumeric.add(gdstk.Reference(g_bsa, (2462.82,-125)))
alphanumeric.add(gdstk.Reference(c_6_bsa, (2462.82,0)))
alphanumeric.add(gdstk.Reference(z_bsa, (2562.82,-375)))
alphanumeric.add(gdstk.Reference(p_bsa, (2562.82,-250)))
alphanumeric.add(gdstk.Reference(f_bsa, (2562.82,-125)))
alphanumeric.add(gdstk.Reference(c_5_bsa, (2562.82,0)))
alphanumeric.add(gdstk.Reference(o_bsa, (2662.766,-250)))
alphanumeric.add(gdstk.Reference(y_bsa, (2662.82,-375)))
alphanumeric.add(gdstk.Reference(e_bsa, (2662.82,-125)))
alphanumeric.add(gdstk.Reference(c_4_bsa, (2662.82,0)))
alphanumeric.add(gdstk.Reference(x_bsa, (2762.82,-375)))
alphanumeric.add(gdstk.Reference(n_bsa, (2762.82,-250)))
alphanumeric.add(gdstk.Reference(d_bsa, (2762.82,-125)))
alphanumeric.add(gdstk.Reference(c_3_bsa, (2762.82,0)))
alphanumeric.add(gdstk.Reference(w_bsa, (2862.82,-375)))
alphanumeric.add(gdstk.Reference(m_bsa, (2862.82,-250)))
alphanumeric.add(gdstk.Reference(c_bsa, (2862.82,-125)))
alphanumeric.add(gdstk.Reference(c_2_bsa, (2862.82,0)))
alphanumeric.add(gdstk.Reference(v_bsa, (2962.82,-375)))
alphanumeric.add(gdstk.Reference(b_bsa, (2962.82,-125)))
alphanumeric.add(gdstk.Reference(c_1_bsa, (2962.82,0)))
alphanumeric.add(gdstk.Reference(l_bsa, (2967.98,-250)))
alphanumeric.add(gdstk.Reference(u_bsa, (3062.82,-375)))
alphanumeric.add(gdstk.Reference(c_0_bsa, (3062.82,0)))
alphanumeric.add(gdstk.Reference(a_bsa, (3062.896,-125)))
alphanumeric.add(gdstk.Reference(k_bsa, (3066.26,-250)))

lib.write_gds('Alphanumeric.gds')
